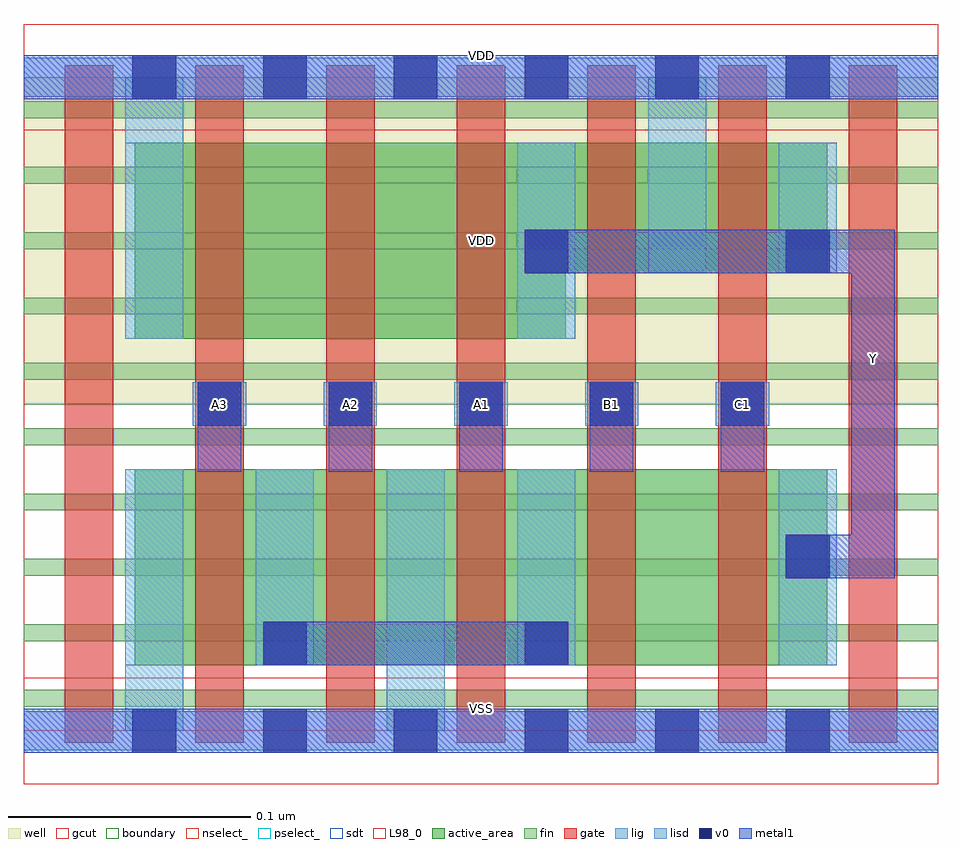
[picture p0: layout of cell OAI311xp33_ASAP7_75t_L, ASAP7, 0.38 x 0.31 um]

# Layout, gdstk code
import gdstk
lib = gdstk.Library(unit=1e-6, precision=2.5e-10)
def R(c, l, rs):  # rectangles x0, y0, x1, y1
    for r in rs: c.add(gdstk.rectangle(r[:2], r[2:], *l))
def A(c, l, x, y, w, h, nx, ny, dx, dy):  # array of equal rectangles
    R(c, l, [(x+i*dx, y+j*dy, x+i*dx+w, y+j*dy+h) for i in range(nx) for j in range(ny)])
def P(c, l, *ps):  # polygons
    for p in ps: c.add(gdstk.Polygon(p, *l))
well = (1, 0)
fin = (2, 0)
gate = (7, 0)
gcut = (10, 0)
active_area = (11, 0)
nselect_ = (12, 0)
pselect_ = (13, 0)
lig = (16, 0)
lisd = (17, 0)
v0 = (18, 0)
metal1 = (19, 0)
sdt = (88, 0)
L98_0 = (98, 0)
boundary = (100, 0)

oai311xp33_asap7_75t_l = lib.new_cell('OAI311xp33_ASAP7_75t_L')
R(oai311xp33_asap7_75t_l, well, [(0,0.135,0.378,0.27)])
A(oai311xp33_asap7_75t_l, fin, 0, 0.01, 0.378, 0.007, 1, 10, 0, 0.027)
A(oai311xp33_asap7_75t_l, gate, 0.017, -0.005, 0.02, 0.28, 7, 1, 0.054, 0)
R(oai311xp33_asap7_75t_l, gcut, [(0,-0.022,0.378,0.022), (0,0.248,0.378,0.292)])
R(oai311xp33_asap7_75t_l, active_area, [(0.046,0.027,0.332,0.108)])
P(oai311xp33_asap7_75t_l, active_area, [(0.332,0.243),(0.046,0.243),(0.046,0.162),(0.224,0.162),(0.224,0.189),(0.332,0.189)])
R(oai311xp33_asap7_75t_l, nselect_, [(0,0,0.378,0.135)])
R(oai311xp33_asap7_75t_l, pselect_, [(0,0.135,0.378,0.27)])
A(oai311xp33_asap7_75t_l, lig, 0.07, 0.126, 0.022, 0.018, 5, 1, 0.054, 0)
R(oai311xp33_asap7_75t_l, lig, [(0,-0.008,0.378,0.008), (0,0.262,0.378,0.278)])
A(oai311xp33_asap7_75t_l, lisd, 0.096, 0.027, 0.024, 0.081, 3, 1, 0.108, 0)
R(oai311xp33_asap7_75t_l, lisd, [(0.042,0,0.066,0.108), (0.042,0,0.066,0.108), (0.15,0,0.174,0.108), (0.15,0,0.174,0.108), (0.042,0.162,0.066,0.27), (0.042,0.162,0.066,0.27), (0.204,0.162,0.228,0.243), (0.258,0.189,0.282,0.27), (0.258,0.189,0.282,0.27), (0.312,0.189,0.336,0.243)])
A(oai311xp33_asap7_75t_l, v0, 0.045, -0.009, 0.018, 0.018, 6, 2, 0.054, 0.27)
A(oai311xp33_asap7_75t_l, v0, 0.072, 0.126, 0.018, 0.018, 5, 1, 0.054, 0)
R(oai311xp33_asap7_75t_l, v0, [(0.099,0.027,0.117,0.045), (0.207,0.027,0.225,0.045), (0.315,0.063,0.333,0.081), (0.207,0.189,0.225,0.207), (0.315,0.189,0.333,0.207)])
A(oai311xp33_asap7_75t_l, metal1, 0.072, 0.107, 0.018, 0.037, 5, 1, 0.054, 0)
A(oai311xp33_asap7_75t_l, metal1, 0.072, 0.126, 0.018, 0.018, 5, 1, 0.054, 0)
R(oai311xp33_asap7_75t_l, metal1, [(0,-0.009,0.378,0.009), (0.099,0.027,0.117,0.045), (0.099,0.027,0.225,0.045), (0.207,0.027,0.225,0.045), (0.315,0.063,0.333,0.081), (0.207,0.189,0.225,0.207), (0.315,0.189,0.333,0.207), (0,0.261,0.378,0.279)])
P(oai311xp33_asap7_75t_l, metal1, [(0.207,0.207),(0.207,0.189),(0.342,0.189),(0.342,0.081),(0.315,0.081),(0.315,0.063),(0.36,0.063),(0.36,0.207)])
A(oai311xp33_asap7_75t_l, sdt, 0.042, 0.027, 0.024, 0.081, 3, 1, 0.054, 0)
R(oai311xp33_asap7_75t_l, sdt, [(0.042,0.027,0.066,0.108), (0.15,0.027,0.174,0.108), (0.204,0.027,0.228,0.108), (0.312,0.027,0.336,0.108), (0.042,0.162,0.066,0.243), (0.042,0.162,0.066,0.243), (0.204,0.162,0.228,0.243), (0.258,0.189,0.282,0.243), (0.258,0.189,0.282,0.243), (0.312,0.189,0.336,0.243)])
R(oai311xp33_asap7_75t_l, L98_0, [(0,0,0.378,0.27)])
R(oai311xp33_asap7_75t_l, boundary, [(0,0,0.378,0.27)])
oai311xp33_asap7_75t_l.add(gdstk.Label('VDD', (0.189,0.2025), layer=1, texttype=251))
oai311xp33_asap7_75t_l.add(gdstk.Label('VSS', (0.189,-0.0675), layer=3, texttype=251))
oai311xp33_asap7_75t_l.add(gdstk.Label('VSS', (0.189,0.009), layer=19, texttype=251))
oai311xp33_asap7_75t_l.add(gdstk.Label('VDD', (0.189,0.279), layer=19, texttype=251))
oai311xp33_asap7_75t_l.add(gdstk.Label('A3', (0.081,0.135), layer=19, texttype=251))
oai311xp33_asap7_75t_l.add(gdstk.Label('A2', (0.135,0.135), layer=19, texttype=251))
oai311xp33_asap7_75t_l.add(gdstk.Label('A1', (0.189,0.135), layer=19, texttype=251))
oai311xp33_asap7_75t_l.add(gdstk.Label('Y', (0.351,0.154), layer=19, texttype=251))
oai311xp33_asap7_75t_l.add(gdstk.Label('B1', (0.243,0.135), layer=19, texttype=251))
oai311xp33_asap7_75t_l.add(gdstk.Label('C1', (0.297,0.135), layer=19, texttype=251))

lib.write_gds('OAI311xp33_ASAP7_75t_L.gds')
